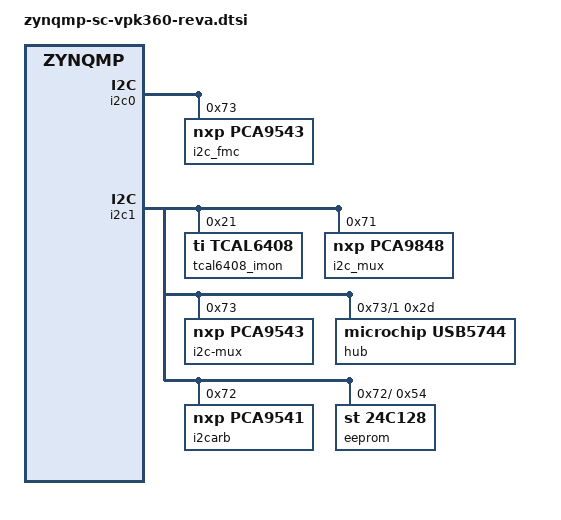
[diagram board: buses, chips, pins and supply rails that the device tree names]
// SPDX-License-Identifier: GPL-2.0
/*
 * dts file for SC on VPK360 revA (k24)
 *
 * (C) Copyright 2026, Advanced Micro Devices, Inc.
 *
 * Michal Simek <michal.simek@amd.com>
 */

&{/} {
	compatible = "xlnx,zynqmp-sc-vpk360-revA",
		     "xlnx,zynqmp-sc-vpk360", "xlnx,zynqmp";
	model = "ZynqMP SC VPK360 revA";
};

&i2c0 { /* fmc_mux_i2c0 */
	#address-cells = <1>;
	#size-cells = <0>;

	i2c_fmc: i2c-mux@73 { /* u676 */
		compatible = "nxp,pca9543";
		#address-cells = <1>;
		#size-cells = <0>;
		reg = <0x73>;

		fmc_lpc_i2c: i2c@0 {
			#address-cells = <1>;
			#size-cells = <0>;
			reg = <0>;
		};

		fmc_hpc_i2c: i2c@1 {
			#address-cells = <1>;
			#size-cells = <0>;
			reg = <1>;
		};
	};
};

&i2c1 {
	#address-cells = <1>;
	#size-cells = <0>;

	tcal6408_imon: gpio@21 { /* u671 */
		compatible = "ti,tcal6408";
		reg = <0x21>;
		gpio-controller; /* IRQ not connected */
		#gpio-cells = <2>;
		gpio-line-names = "pmbus_reg_alert", "imon_pmc_alert",
				  "imon_lpd_alert", "imon_spd_alert",
				  "imon_fpd_alert", "imon_pl_alert",
				  "imon_lp5_alert", "8a34001_exp_rst_b";
	};

	i2c_mux: i2c-mux@71 { /* u685 */
		compatible = "nxp,pca9848";
		#address-cells = <1>;
		#size-cells = <0>;
		reg = <0x71>;

		pmbus_i2c: i2c@0 {
			#address-cells = <1>;
			#size-cells = <0>;
			reg = <0>;
			/* 0x40 mpq72963 - u499 */
			/* 0x3b mpq2285 - u653 */
			/* 0x41 mpq72963 - u516 */
			/* 0x1c mpq2283 - u655 */
			/* 0x1 mpq2285 - u527 */
			/* 0x2b mpq2283 - u529 */
			/* 0x1f mpq2283 - u531 */
			/* 0x22 mpq2285 - u533 */
			/* 0x32 mpq2283 - u535 */
			/* 0x39 mpq2283 - u537 */
			/* 0x2d mpq2283 - u539 */
			/* 0x34 mpq2285 - u541 */
			/* 0x2a mpq2283 - u543 */
			/* 0x17 mpq2283 - u545 */
			/* 0x38 mpq2283 - u657 */
			/* 0x2e mpq2287 - u547 */
			/* 0x4 mpq2283 - u549 */
		};
		imon_pmc_i2c: i2c@1 {
			#address-cells = <1>;
			#size-cells = <0>;
			reg = <1>;
			/* 0x45 ina700 - u544 */
			/* 0x47 ina700 - u546 */
			/* 0x44 ina700 - u658 */
		};
		imon_lpd_i2c: i2c@2 {
			#address-cells = <1>;
			#size-cells = <0>;
			reg = <2>;
			/* 0x44 ina700 - u538 */
			/* 0x45 ina700 - u540 */
		};
		imon_spd_i2c: i2c@3 {
			#address-cells = <1>;
			#size-cells = <0>;
			reg = <3>;
			/* 0x43 ina745 - u522 */
			/* 0x45 ina700 - u530 */
			/* 0x47 ina700 - u532 */
			/* 0x44 ina700 - u534 */
		};
		imon_fpd_i2c: i2c@4 {
			#address-cells = <1>;
			#size-cells = <0>;
			reg = <4>;
			/* 0x45 ina700 - u654 */
			/* 0x42 ina745 - u518 */
			/* 0x43 ina745 - u524 */
			/* 0x47 ina700 - u656 */
			/* 0x44 ina700 - u536 */
		};
		imon_pl_i2c: i2c@5 {
			#address-cells = <1>;
			#size-cells = <0>;
			reg = <5>;
			/* 0x48 ina745 - u501 */
			/* 0x49 ina745 - u503 */
			/* 0x4a ina745 - u505 */
			/* 0x4b ina745 - u507 */
			/* 0x4c ina745 - u509 */
			/* 0x4d ina745 - u511 */
			/* 0x42 ina745 - u513 */
			/* 0x43 ina745 - u515 */
			/* 0x44 ina700 - u528 */
			/* 0x45 ina700 - u542 */
		};
		imon_lp5_i2c: i2c@6 {
			#address-cells = <1>;
			#size-cells = <0>;
			reg = <6>;
			/* 0x44 ina700 - u548 */
			/* 0x45 ina700 - u550 */
		};
		pwr_seq_i2c: i2c@7 {
			#address-cells = <1>;
			#size-cells = <0>;
			reg = <7>;
			/* 0x60 ucd9081 - u565 */
			/* 0x61 ucd9081 - u568 */
			/* 0x62 ucd9081 - u660 */
			/* 0x64 ucd9081 - u571 */
		};
	};

	i2c-mux@73 { /* u626 */
		compatible = "nxp,pca9543";
		#address-cells = <1>;
		#size-cells = <0>;
		reg = <0x73>;

		rc31312_i2c: i2c@0 {
			#address-cells = <1>;
			#size-cells = <0>;
			reg = <0>;
			/* rc31312 - u637 */
			/* rc19004a - u640 */
		};

		i2c_hub: i2c@1 {
			#address-cells = <1>;
			#size-cells = <0>;
			reg = <1>;
			hub: usb-hub@2d { /* u471 */
				compatible = "microchip,usb5744";
				reg = <0x2d>;
			};
		};
	};

	i2carb: i2c-arbitrator@72 { /* u704 */
		compatible = "nxp,pca9541";
		reg = <0x72>;

		i2carb1: i2c-arb {
			#address-cells = <1>;
			#size-cells = <0>;

			/* Use for storing information about board */
			eeprom: eeprom@54 { /* u669 - m24128 16kB */
				compatible = "st,24c128", "atmel,24c128";
				reg = <0x54>; /* & 0x5c */
			};
		};
	};
};
